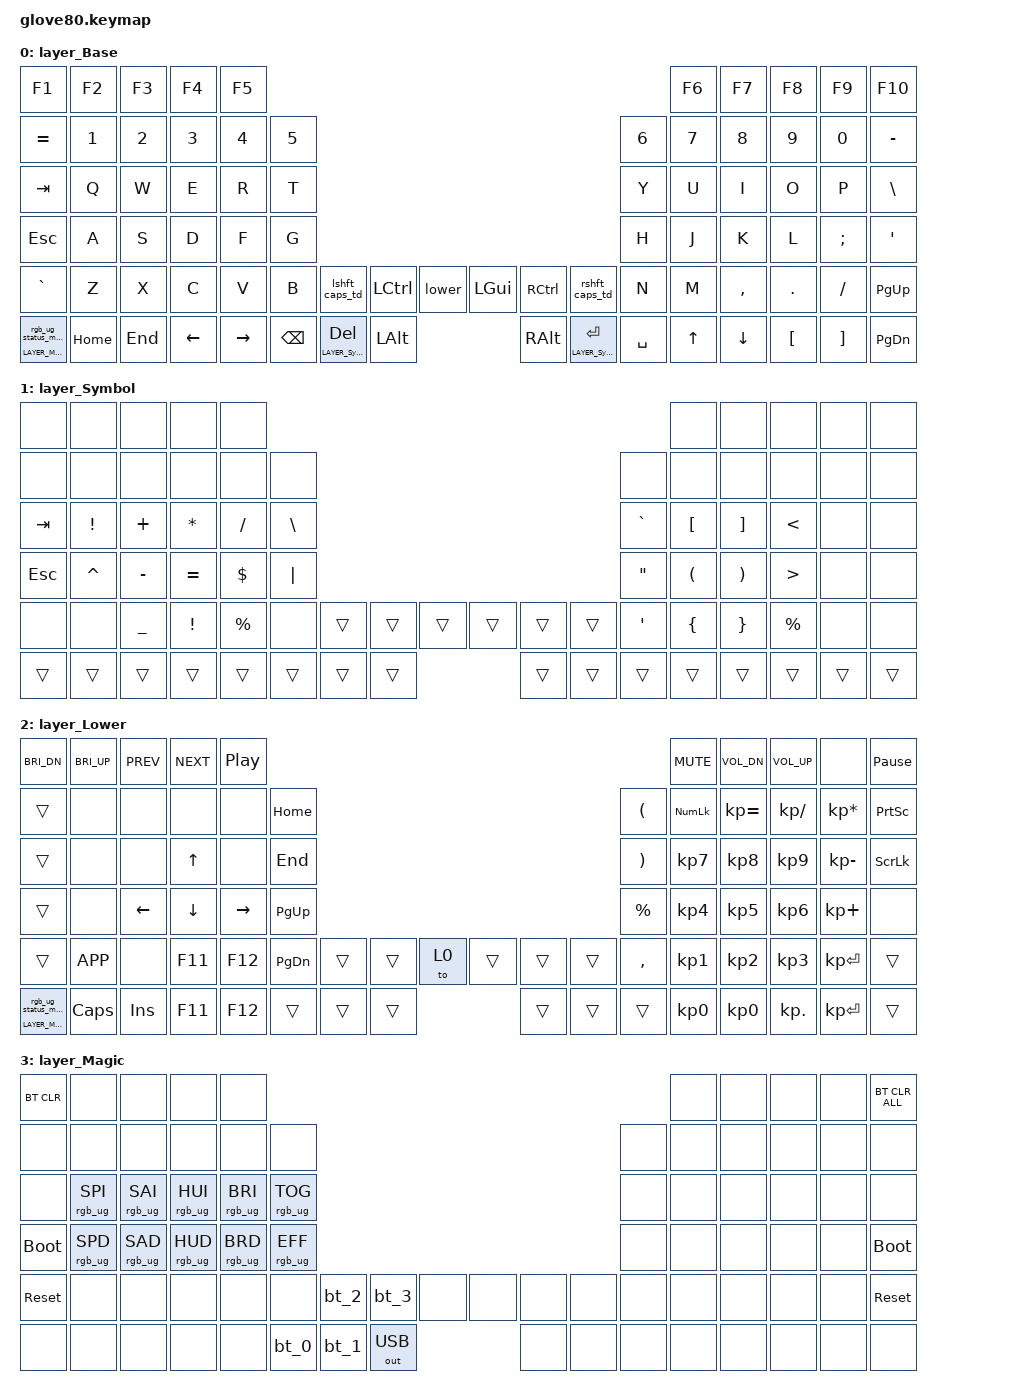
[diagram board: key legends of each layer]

/*
 * Copyright (c) 2020 The ZMK Contributors
 * Copyright (c) 2023 Innaworks Development Limited, trading as MoErgo
 *
 * SPDX-License-Identifier: MIT
 */


/* THIS FILE WAS GENERATED BY GLOVE80 LAYOUT EDITOR
 *
 * This file was generated automatically. You may or may not want to
 * edit it directly.
 */

#include <behaviors.dtsi>
/* Include all behavior includes needed */
#include <dt-bindings/zmk/outputs.h>
#include <dt-bindings/zmk/keys.h>
#include <dt-bindings/zmk/bt.h>
#include <dt-bindings/zmk/rgb.h>

/* On demand includes */


/* Automatically generated layer name #define */
#define LAYER_Base 0
#define LAYER_Symbol 1
#define LAYER_Lower 2
#define LAYER_Magic 3

/* To deal with the situation where there is no Lower layer, to keep &lower happy */
#ifndef LAYER_Lower
#define LAYER_Lower 0
#endif

/* Custom Device-tree */



/* Glove80 system behavior & macros */
/ {
    behaviors {
        // For the "layer" key, it'd nice to be able to use it as either a shift or a toggle.
        // Configure it as a tap dance, so the first tap (or hold) is a &mo and the second tap is a &to
        lower: lower {
            compatible = "zmk,behavior-tap-dance";
            label = "LAYER_TAP_DANCE";
            #binding-cells = <0>;
            tapping-term-ms = <200>;
            bindings = <&mo LAYER_Lower>, <&to LAYER_Lower>;
        };
    };
};

/ {
    macros {
        rgb_ug_status_macro: rgb_ug_status_macro {
            label = "RGB_UG_STATUS";
            compatible = "zmk,behavior-macro";
            #binding-cells = <0>;
            bindings
                = <&rgb_ug RGB_STATUS>;
        };
    };
};


/ {
#ifdef BT_DISC_CMD
    behaviors {
        bt_0: bt_0 {
            compatible = "zmk,behavior-tap-dance";
            label = "BT_0";
            #binding-cells = <0>;
            tapping-term-ms = <200>;
            bindings = <&bt_select_0>, <&bt BT_DISC 0>;
        };
        bt_1: bt_1 {
            compatible = "zmk,behavior-tap-dance";
            label = "BT_1";
            #binding-cells = <0>;
            tapping-term-ms = <200>;
            bindings = <&bt_select_1>, <&bt BT_DISC 1>;
        };
        bt_2: bt_2 {
            compatible = "zmk,behavior-tap-dance";
            label = "BT_2";
            #binding-cells = <0>;
            tapping-term-ms = <200>;
            bindings = <&bt_select_2>, <&bt BT_DISC 2>;
        };
        bt_3: bt_3 {
            compatible = "zmk,behavior-tap-dance";
            label = "BT_3";
            #binding-cells = <0>;
            tapping-term-ms = <200>;
            bindings = <&bt_select_3>, <&bt BT_DISC 3>;
        };
    };
    macros {
        bt_select_0: bt_select_0 {
            label = "BT_SELECT_0";
            compatible = "zmk,behavior-macro";
            #binding-cells = <0>;
            bindings
                = <&out OUT_BLE>,
                  <&bt BT_SEL 0>;
        };
        bt_select_1: bt_select_1 {
            label = "BT_SELECT_1";
            compatible = "zmk,behavior-macro";
            #binding-cells = <0>;
            bindings
                = <&out OUT_BLE>,
                  <&bt BT_SEL 1>;
        };
        bt_select_2: bt_select_2 {
            label = "BT_SELECT_2";
            compatible = "zmk,behavior-macro";
            #binding-cells = <0>;
            bindings
                = <&out OUT_BLE>,
                  <&bt BT_SEL 2>;
        };
        bt_select_3: bt_select_3 {
            label = "BT_SELECT_3";
            compatible = "zmk,behavior-macro";
            #binding-cells = <0>;
            bindings
                = <&out OUT_BLE>,
                  <&bt BT_SEL 3>;
        };
    };
#else
    macros {
        bt_0: bt_0 {
            label = "BT_0";
            compatible = "zmk,behavior-macro";
            #binding-cells = <0>;
            bindings
                = <&out OUT_BLE>,
                  <&bt BT_SEL 0>;
        };
        bt_1: bt_1 {
            label = "BT_1";
            compatible = "zmk,behavior-macro";
            #binding-cells = <0>;
            bindings
                = <&out OUT_BLE>,
                  <&bt BT_SEL 1>;
        };
        bt_2: bt_2 {
            label = "BT_2";
            compatible = "zmk,behavior-macro";
            #binding-cells = <0>;
            bindings
                = <&out OUT_BLE>,
                  <&bt BT_SEL 2>;
        };
        bt_3: bt_3 {
            label = "BT_3";
            compatible = "zmk,behavior-macro";
            #binding-cells = <0>;
            bindings
                = <&out OUT_BLE>,
                  <&bt BT_SEL 3>;
        };
    };
#endif
};

/ {
    behaviors {
        magic: magic {
            compatible = "zmk,behavior-hold-tap";
            label = "MAGIC_HOLD_TAP";
            #binding-cells = <2>;
            flavor = "tap-preferred";
            tapping-term-ms = <200>;
            bindings = <&mo>, <&rgb_ug_status_macro>;
        };
    };
};

/* #define for key positions */
#define POS_LH_T1 52
#define POS_LH_T2 53
#define POS_LH_T3 54
#define POS_LH_T4 69
#define POS_LH_T5 70
#define POS_LH_T6 71
#define POS_LH_C1R2 15
#define POS_LH_C1R3 27
#define POS_LH_C1R4 39
#define POS_LH_C1R5 51
#define POS_LH_C2R1 4
#define POS_LH_C2R2 14
#define POS_LH_C2R3 26
#define POS_LH_C2R4 38
#define POS_LH_C2R5 50
#define POS_LH_C2R6 68
#define POS_LH_C3R1 3
#define POS_LH_C3R2 13
#define POS_LH_C3R3 25
#define POS_LH_C3R4 37
#define POS_LH_C3R5 49
#define POS_LH_C3R6 67
#define POS_LH_C4R1 2
#define POS_LH_C4R2 12
#define POS_LH_C4R3 24
#define POS_LH_C4R4 36
#define POS_LH_C4R5 48
#define POS_LH_C4R6 66
#define POS_LH_C5R1 1
#define POS_LH_C5R2 11
#define POS_LH_C5R3 23
#define POS_LH_C5R4 35
#define POS_LH_C5R5 47
#define POS_LH_C5R6 65
#define POS_LH_C6R1 0
#define POS_LH_C6R2 10
#define POS_LH_C6R3 22
#define POS_LH_C6R4 34
#define POS_LH_C6R5 46
#define POS_LH_C6R6 64
#define POS_RH_T1 57
#define POS_RH_T2 56
#define POS_RH_T3 55
#define POS_RH_T4 74
#define POS_RH_T5 73
#define POS_RH_T6 72
#define POS_RH_C1R2 16
#define POS_RH_C1R3 28
#define POS_RH_C1R4 40
#define POS_RH_C1R5 58
#define POS_RH_C2R1 5
#define POS_RH_C2R2 17
#define POS_RH_C2R3 29
#define POS_RH_C2R4 41
#define POS_RH_C2R5 59
#define POS_RH_C2R6 75
#define POS_RH_C3R1 6
#define POS_RH_C3R2 18
#define POS_RH_C3R3 30
#define POS_RH_C3R4 42
#define POS_RH_C3R5 60
#define POS_RH_C3R6 76
#define POS_RH_C4R1 7
#define POS_RH_C4R2 19
#define POS_RH_C4R3 31
#define POS_RH_C4R4 43
#define POS_RH_C4R5 61
#define POS_RH_C4R6 77
#define POS_RH_C5R1 8
#define POS_RH_C5R2 20
#define POS_RH_C5R3 32
#define POS_RH_C5R4 44
#define POS_RH_C5R5 62
#define POS_RH_C5R6 78
#define POS_RH_C6R1 9
#define POS_RH_C6R2 21
#define POS_RH_C6R3 33
#define POS_RH_C6R4 45
#define POS_RH_C6R5 63
#define POS_RH_C6R6 79

/* Custom Defined Behaviors */
/ {
behaviors {

    // hold for layer modifier, tap for keypress
    // from https://github.com/urob/zmk-config#timeless-homerow-mods

    // tapping-term-ms 
    // pretty big so it doesn't accidentally trigger the 'hold' behavior

    // quick-tap-ms 
    // so if it's pressed within quick-tap-ms again, it triggers the 'tap' behavior
    // useful when we want multiple presses when the key is held instead of the 'hold'
    // e.g. bunch of backspaces

    // require-prior-idle-ms 
    // if it's pressed at most within this time after any non modifier key, it triggers
    // the 'tap' behavior
    // useful when typing fast and we want the 'tap' behavior.
    layer_ht: layer_hold_tap {
        compatible = "zmk,behavior-hold-tap";
        #binding-cells = <2>;
        flavor = "hold-preferred";
        tapping-term-ms = <165>;
        quick-tap-ms = <175>;
        require-prior-idle-ms = <120>;
        bindings = <&mo>, <&kp>;
    };

    // double shift to caps
    #define SHIFT_CAPS_TAP_TERM_MS 160

    lshft_caps_td: lshift_caps_tap_dance {
        compatible = "zmk,behavior-tap-dance";
        #binding-cells = <0>;
        tapping-term-ms = <SHIFT_CAPS_TAP_TERM_MS>;
        bindings = <&kp LSHFT>, <&kp CAPS>;
    };

    rshft_caps_td: rshift_caps_tap_dance {
        compatible = "zmk,behavior-tap-dance";
        #binding-cells = <0>;
        tapping-term-ms = <SHIFT_CAPS_TAP_TERM_MS>;
        bindings = <&kp RSHFT>, <&kp CAPS>;
    };

    //////////////////////////////////////////////////////////////////////////
    //
    // ZMK global overrides
    //
    //////////////////////////////////////////////////////////////////////////

    // CapsWord - ported from Pascal Getreuer's extension for QMK
    // - https://zmk.dev/docs/behaviors/caps-word
    // - https://getreuer.info/posts/keyboards/caps-word/index.html
    //
    behavior_caps_word {
      continue-list = <
        UNDER MINUS
        BSPC  DEL
        N1 N2 N3 N4 N5 N6 N7 N8 N9 N0
      >;
    };
};

};

/* Automatically generated macro definitions */
/ {
    macros {

    };
};

/* Automatically generated behavior definitions */
/ {
    behaviors {
    
    };
};

/* Automatically generated combos definitions */


/* Automatically generated keymap */
/ {
    keymap {
        compatible = "zmk,keymap";


        layer_Base {
            bindings = <
               &kp F1    &kp F2   &kp F3    &kp F4     &kp F5                                                                                                                              &kp F6     &kp F7    &kp F8    &kp F9    &kp F10
            &kp EQUAL    &kp N1   &kp N2    &kp N3     &kp N4  &kp N5                                                                                                              &kp N6  &kp N7     &kp N8    &kp N9    &kp N0  &kp MINUS
              &kp TAB     &kp Q    &kp W     &kp E      &kp R   &kp T                                                                                                               &kp Y   &kp U      &kp I     &kp O     &kp P   &kp BSLH
              &kp ESC     &kp A    &kp S     &kp D      &kp F   &kp G                                                                                                               &kp H   &kp J      &kp K     &kp L  &kp SEMI    &kp SQT
            &kp GRAVE     &kp Z    &kp X     &kp C      &kp V   &kp B  &lshft_caps_td                   &kp LCTRL    &lower  &kp LGUI                   &kp RCTRL  &rshft_caps_td   &kp N   &kp M  &kp COMMA   &kp DOT  &kp FSLH  &kp PG_UP
 &magic LAYER_Magic 0  &kp HOME  &kp END  &kp LEFT  &kp RIGHT                &kp BSPC  &layer_ht LAYER_Symbol DEL  &kp LALT  &kp RALT  &layer_ht LAYER_Symbol RET       &kp SPACE          &kp UP   &kp DOWN  &kp LBKT  &kp RBKT  &kp PG_DN
            >;
        };

        layer_Symbol {
            bindings = <
   &none      &none      &none      &none      &none                                                                          &none     &none      &none   &none   &none
   &none      &none      &none      &none      &none     &none                                                      &none     &none     &none      &none   &none   &none
 &kp TAB   &kp EXCL   &kp PLUS   &kp STAR   &kp FSLH  &kp BSLH                                                  &kp GRAVE  &kp LBKT  &kp RBKT     &kp LT   &none   &none
 &kp ESC  &kp CARET  &kp MINUS  &kp EQUAL   &kp DLLR  &kp PIPE                                                    &kp DQT  &kp LPAR  &kp RPAR     &kp GT   &none   &none
   &none      &none  &kp UNDER   &kp EXCL  &kp PRCNT     &none  &trans  &trans  &trans  &trans  &trans  &trans    &kp SQT  &kp LBRC  &kp RBRC  &kp PRCNT   &none   &none
  &trans     &trans     &trans     &trans     &trans            &trans  &trans  &trans  &trans  &trans  &trans               &trans    &trans     &trans  &trans  &trans
            >;
        };

        layer_Lower {
            bindings = <
         &kp C_BRI_DN  &kp C_BRI_UP      &kp C_PREV      &kp C_NEXT         &kp C_PP                                                                                    &kp C_MUTE  &kp C_VOL_DN  &kp C_VOL_UP            &none  &kp PAUSE_BREAK
               &trans         &none           &none           &none            &none   &kp HOME                                                   &kp LEFT_PARENTHESIS  &kp KP_NUM  &kp KP_EQUAL  &kp KP_SLASH  &kp KP_MULTIPLY  &kp PRINTSCREEN
               &trans         &none           &none    &kp UP_ARROW            &none    &kp END                                                  &kp RIGHT_PARENTHESIS   &kp KP_N7     &kp KP_N8     &kp KP_N9     &kp KP_MINUS   &kp SCROLLLOCK
               &trans         &none  &kp LEFT_ARROW  &kp DOWN_ARROW  &kp RIGHT_ARROW  &kp PG_UP                                                            &kp PERCENT   &kp KP_N4     &kp KP_N5     &kp KP_N6      &kp KP_PLUS            &none
               &trans     &kp K_APP           &none         &kp F11          &kp F12  &kp PG_DN  &trans  &trans   &to 0  &trans  &trans  &trans              &kp COMMA   &kp KP_N1     &kp KP_N2     &kp KP_N3     &kp KP_ENTER           &trans
 &magic LAYER_Magic 0      &kp CAPS         &kp INS         &kp F11          &kp F12             &trans  &trans  &trans  &trans  &trans  &trans                          &kp KP_N0     &kp KP_N0    &kp KP_DOT     &kp KP_ENTER           &trans
            >;
        };

        layer_Magic {
            bindings = <
  &bt BT_CLR            &none            &none            &none            &none                                                                                  &none   &none   &none   &none  &bt BT_CLR_ALL
       &none            &none            &none            &none            &none            &none                                                         &none   &none   &none   &none   &none           &none
       &none  &rgb_ug RGB_SPI  &rgb_ug RGB_SAI  &rgb_ug RGB_HUI  &rgb_ug RGB_BRI  &rgb_ug RGB_TOG                                                         &none   &none   &none   &none   &none           &none
 &bootloader  &rgb_ug RGB_SPD  &rgb_ug RGB_SAD  &rgb_ug RGB_HUD  &rgb_ug RGB_BRD  &rgb_ug RGB_EFF                                                         &none   &none   &none   &none   &none     &bootloader
  &sys_reset            &none            &none            &none            &none            &none   &bt_2   &bt_3         &none   &none   &none   &none   &none   &none   &none   &none   &none      &sys_reset
       &none            &none            &none            &none            &none                    &bt_0   &bt_1  &out OUT_USB   &none   &none   &none           &none   &none   &none   &none           &none
            >;
        };

    };
};

